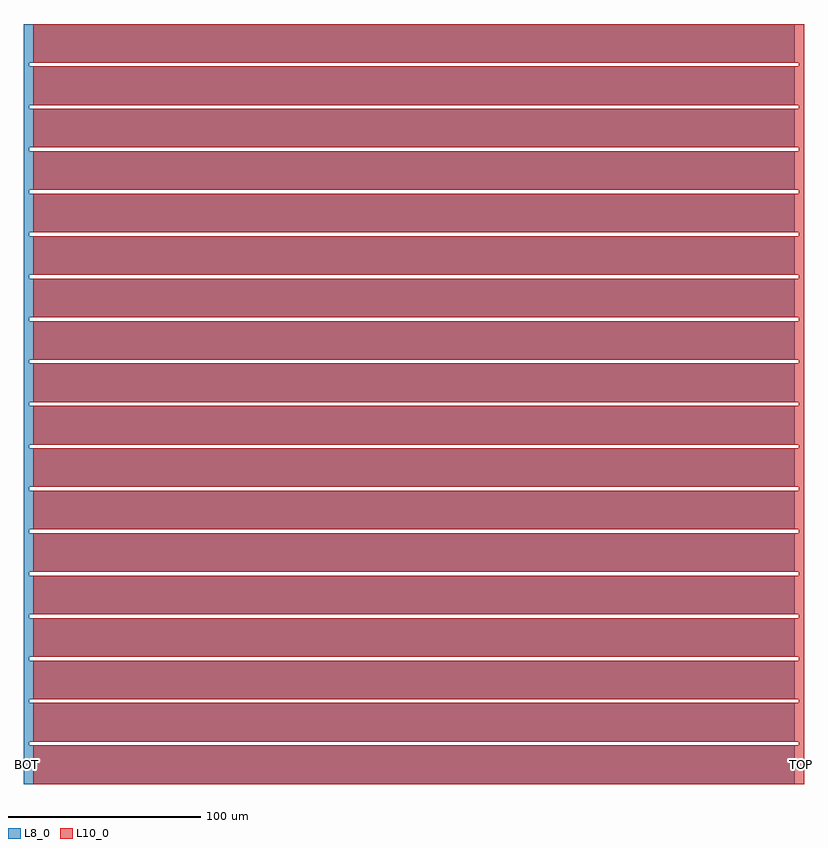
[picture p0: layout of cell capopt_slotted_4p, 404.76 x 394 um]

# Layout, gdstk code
import gdstk
lib = gdstk.Library(unit=1e-6, precision=1e-09)
def R(c, l, rs):  # rectangles x0, y0, x1, y1
    for r in rs: c.add(gdstk.rectangle(r[:2], r[2:], *l))
def A(c, l, x, y, w, h, nx, ny, dx, dy):  # array of equal rectangles
    R(c, l, [(x+i*dx, y+j*dy, x+i*dx+w, y+j*dy+h) for i in range(nx) for j in range(ny)])
L8_0 = (8, 0)
L10_0 = (10, 0)

capopt_slotted_4p = lib.new_cell('capopt_slotted_4p')
A(capopt_slotted_4p, L8_0, -5, 0, 399.76, 20, 1, 18, 0, 22)
R(capopt_slotted_4p, L8_0, [(-5,0,-2,394)])
A(capopt_slotted_4p, L10_0, 0, 0, 399.76, 20, 1, 18, 0, 22)
R(capopt_slotted_4p, L10_0, [(396.76,0,399.76,394)])
capopt_slotted_4p.add(gdstk.Label('BOT', (-3.5,10), layer=8, texttype=7))
capopt_slotted_4p.add(gdstk.Label('TOP', (398.26,10), layer=10, texttype=7))

lib.write_gds('capopt_slotted_4p.gds')
